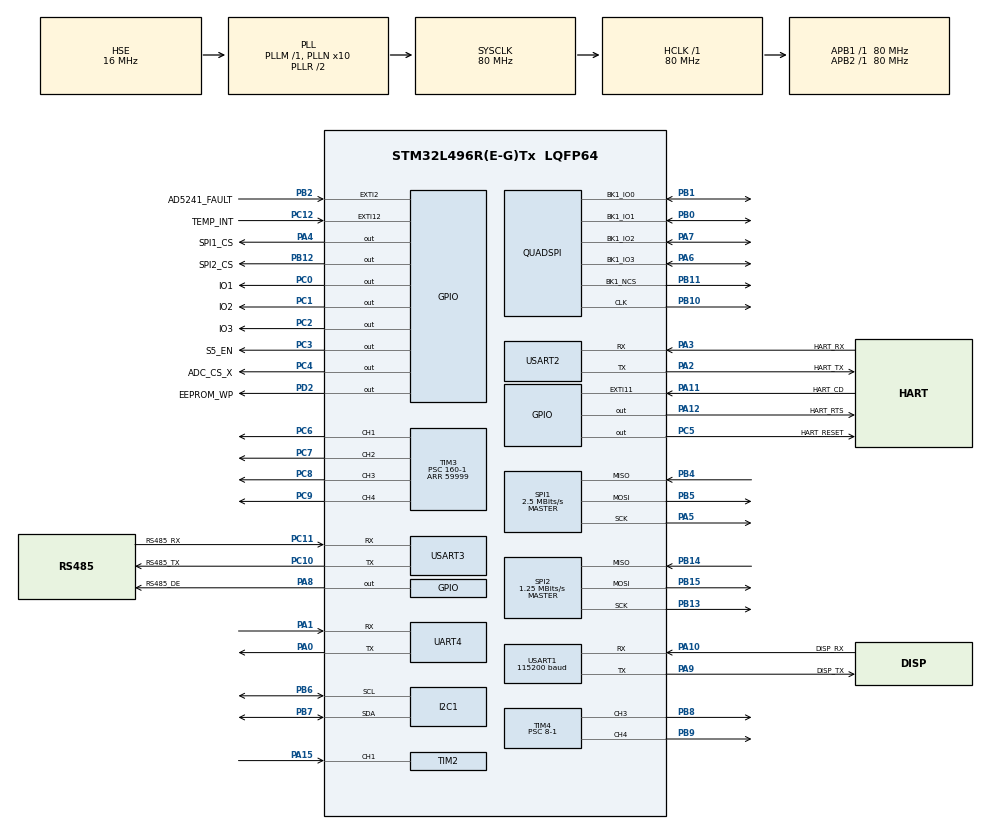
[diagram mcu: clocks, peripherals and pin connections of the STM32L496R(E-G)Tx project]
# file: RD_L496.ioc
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Dma.QUADSPI.0.Direction=DMA_PERIPH_TO_MEMORY
Dma.QUADSPI.0.Instance=DMA1_Channel5
Dma.QUADSPI.0.MemDataAlignment=DMA_MDATAALIGN_BYTE
Dma.QUADSPI.0.MemInc=DMA_MINC_ENABLE
Dma.QUADSPI.0.Mode=DMA_NORMAL
Dma.QUADSPI.0.PeriphDataAlignment=DMA_PDATAALIGN_BYTE
Dma.QUADSPI.0.PeriphInc=DMA_PINC_DISABLE
Dma.QUADSPI.0.Priority=DMA_PRIORITY_LOW
Dma.Request0=QUADSPI
Dma.Request1=USART1_RX
Dma.USART1_RX.1.Direction=DMA_PERIPH_TO_MEMORY
Dma.USART1_RX.1.Instance=DMA2_Channel7
Dma.USART1_RX.1.MemDataAlignment=DMA_MDATAALIGN_BYTE
Dma.USART1_RX.1.MemInc=DMA_MINC_ENABLE
Dma.USART1_RX.1.Mode=DMA_NORMAL
Dma.USART1_RX.1.PeriphDataAlignment=DMA_PDATAALIGN_BYTE
Dma.USART1_RX.1.PeriphInc=DMA_PINC_DISABLE
Dma.USART1_RX.1.Priority=DMA_PRIORITY_LOW
I2C1.Timing=0x10D19CE4
Mcu.Family=STM32L4
Mcu.Name=STM32L496R(E-G)Tx
Mcu.Package=LQFP64
NVIC.DMA2_Channel7_IRQn=true\:1\:0\:true\:false\:true\:false\:true\:true
NVIC.DMA1_Channel5_IRQn=true\:2\:0\:true\:false\:true\:false\:true\:true
NVIC.EXTI15_10_IRQn=true\:0\:0\:false\:false\:true\:true\:true\:true
NVIC.EXTI2_IRQn=true\:0\:0\:false\:false\:true\:true\:true\:true
NVIC.PriorityGroup=NVIC_PRIORITYGROUP_4
NVIC.QUADSPI_IRQn=true\:2\:0\:true\:false\:true\:true\:true\:true
NVIC.SPI1_IRQn=true\:1\:0\:true\:false\:true\:true\:true\:true
NVIC.TIM2_IRQn=true\:0\:0\:false\:false\:true\:true\:true\:true
NVIC.TIM3_IRQn=true\:1\:0\:true\:false\:true\:true\:true\:true
NVIC.TIM4_IRQn=true\:1\:0\:true\:false\:true\:true\:true\:true
NVIC.TIM7_IRQn=true\:1\:0\:true\:false\:true\:true\:true\:true
NVIC.TIM8_UP_IRQn=true\:1\:0\:true\:false\:true\:true\:true\:true
NVIC.UART4_IRQn=true\:2\:0\:true\:false\:true\:true\:true\:true
NVIC.USART1_IRQn=true\:3\:0\:true\:false\:true\:true\:true\:true
NVIC.USART2_IRQn=true\:2\:0\:true\:false\:true\:true\:true\:true
NVIC.USART3_IRQn=true\:2\:0\:true\:false\:true\:true\:true\:true
PA0.Mode=Asynchronous
PA0.Signal=UART4_TX
PA1.Mode=Asynchronous
PA1.Signal=UART4_RX
PA10.GPIO_Label=DISP_RX
PA10.Mode=Asynchronous
PA10.Signal=USART1_RX
PA11.GPIO_Label=HART_CD
PA11.Signal=GPXTI11
PA12.GPIO_Label=HART_RTS
PA12.GPIO_Speed=GPIO_SPEED_FREQ_MEDIUM
PA12.PinState=GPIO_PIN_RESET
PA12.Signal=GPIO_Output
PA13\ (JTMS/SWDIO).Mode=Serial_Wire
PA13\ (JTMS/SWDIO).Signal=SYS_JTMS-SWDIO
PA14\ (JTCK/SWCLK).Mode=Serial_Wire
PA14\ (JTCK/SWCLK).Signal=SYS_JTCK-SWCLK
PA15\ (JTDI).Signal=S_TIM2_CH1
PA2.GPIO_Label=HART_TX
PA2.Mode=Asynchronous
PA2.Signal=USART2_TX
PA3.GPIO_Label=HART_RX
PA3.Mode=Asynchronous
PA3.Signal=USART2_RX
PA4.GPIO_Label=SPI1_CS
PA4.GPIO_PuPd=GPIO_PULLDOWN
PA4.GPIO_Speed=GPIO_SPEED_FREQ_HIGH
PA4.PinState=GPIO_PIN_RESET
PA4.Signal=GPIO_Output
PA5.Mode=Full_Duplex_Master
PA5.Signal=SPI1_SCK
PA6.Mode=Single Bank 1
PA6.Signal=QUADSPI_BK1_IO3
PA7.Mode=Single Bank 1
PA7.Signal=QUADSPI_BK1_IO2
PA8.GPIO_Label=RS485_DE
PA8.GPIO_Speed=GPIO_SPEED_FREQ_MEDIUM
PA8.Signal=GPIO_Output
PA9.GPIO_Label=DISP_TX
PA9.Mode=Asynchronous
PA9.Signal=USART1_TX
PB0.Mode=Single Bank 1
PB0.Signal=QUADSPI_BK1_IO1
PB1.Mode=Single Bank 1
PB1.Signal=QUADSPI_BK1_IO0
PB10.Mode=Single Bank 1
PB10.Signal=QUADSPI_CLK
PB11.Mode=Single Bank 1
PB11.Signal=QUADSPI_BK1_NCS
PB12.GPIO_Label=SPI2_CS
PB12.GPIO_PuPd=GPIO_PULLUP
PB12.GPIO_Speed=GPIO_SPEED_FREQ_HIGH
PB12.PinState=GPIO_PIN_SET
PB12.Signal=GPIO_Output
PB13.Mode=Full_Duplex_Master
PB13.Signal=SPI2_SCK
PB14.Mode=Full_Duplex_Master
PB14.Signal=SPI2_MISO
PB15.Mode=Full_Duplex_Master
PB15.Signal=SPI2_MOSI
PB2.GPIO_Label=AD5241_FAULT
PB2.Signal=GPXTI2
PB4\ (NJTRST).Mode=Full_Duplex_Master
PB4\ (NJTRST).Signal=SPI1_MISO
PB5.Mode=Full_Duplex_Master
PB5.Signal=SPI1_MOSI
PB6.Mode=I2C
PB6.Signal=I2C1_SCL
PB7.Mode=I2C
PB7.Signal=I2C1_SDA
PB8.Signal=S_TIM4_CH3
PB9.Signal=S_TIM4_CH4
PC0.GPIO_Label=IO1
PC0.GPIO_Speed=GPIO_SPEED_FREQ_MEDIUM
PC0.Signal=GPIO_Output
PC1.GPIO_Label=IO2
PC1.GPIO_Speed=GPIO_SPEED_FREQ_MEDIUM
PC1.Signal=GPIO_Output
PC10.GPIO_Label=RS485_TX
PC10.Mode=Asynchronous
PC10.Signal=USART3_TX
PC11.GPIO_Label=RS485_RX
PC11.Mode=Asynchronous
PC11.Signal=USART3_RX
PC12.GPIO_Label=TEMP_INT
PC12.Signal=GPXTI12
PC2.GPIO_Label=IO3
PC2.GPIO_Speed=GPIO_SPEED_FREQ_MEDIUM
PC2.Signal=GPIO_Output
PC3.GPIO_Label=S5_EN
PC3.GPIO_Speed=GPIO_SPEED_FREQ_MEDIUM
PC3.Signal=GPIO_Output
PC4.GPIO_Label=ADC_CS_X
PC4.Signal=GPIO_Output
PC5.GPIO_Label=HART_RESET
PC5.GPIO_Speed=GPIO_SPEED_FREQ_MEDIUM
PC5.Signal=GPIO_Output
PC6.GPIO_PuPd=GPIO_PULLUP
PC6.Signal=S_TIM3_CH1
PC7.GPIO_PuPd=GPIO_PULLDOWN
PC7.Signal=S_TIM3_CH2
PC8.GPIO_PuPd=GPIO_PULLUP
PC8.Signal=S_TIM3_CH3
PC9.GPIO_PuPd=GPIO_PULLDOWN
PC9.Signal=S_TIM3_CH4
PD2.GPIO_Label=EEPROM_WP
PD2.Signal=GPIO_Output
PH0-OSC_IN\ (PH0).Mode=HSE-External-Oscillator
PH0-OSC_IN\ (PH0).Signal=RCC_OSC_IN
PH1-OSC_OUT\ (PH1).Mode=HSE-External-Oscillator
PH1-OSC_OUT\ (PH1).Signal=RCC_OSC_OUT
ProjectManager.HeapSize=0x400
ProjectManager.StackSize=0x800
ProjectManager.TargetToolchain=MDK-ARM V5.32
QUADSPI.ChipSelectHighTime=QSPI_CS_HIGH_TIME_3_CYCLE
QUADSPI.ClockPrescaler=1
QUADSPI.FifoThreshold=4
QUADSPI.FlashSize=23
QUADSPI.SampleShifting=QSPI_SAMPLE_SHIFTING_HALFCYCLE
RCC.ADCFreq_Value=64000000
RCC.AHBFreq_Value=80000000
RCC.APB1Freq_Value=80000000
RCC.APB1TimFreq_Value=80000000
RCC.APB2Freq_Value=80000000
RCC.APB2TimFreq_Value=80000000
RCC.CortexFreq_Value=80000000
RCC.HCLKFreq_Value=80000000
RCC.HSE_VALUE=16000000
RCC.HSI48_VALUE=48000000
RCC.HSI_VALUE=16000000
RCC.LSE_VALUE=32768
RCC.MSI_VALUE=4000000
RCC.PLLN=10
RCC.PLLSourceVirtual=RCC_PLLSOURCE_HSE
RCC.SYSCLKFreq_VALUE=80000000
RCC.SYSCLKSource=RCC_SYSCLKSOURCE_PLLCLK
RCC.USBFreq_Value=64000000
RCC.VCOOutputFreq_Value=160000000
SH.S_TIM2_CH1.0=TIM2_CH1,Input_Capture1_from_TI1
SH.S_TIM3_CH1.0=TIM3_CH1,Output Compare1 CH1
SH.S_TIM3_CH2.0=TIM3_CH2,Output Compare2 CH2
SH.S_TIM3_CH3.0=TIM3_CH3,Output Compare3 CH3
SH.S_TIM3_CH4.0=TIM3_CH4,Output Compare4 CH4
SH.S_TIM4_CH3.0=TIM4_CH3,Output Compare3 CH3
SH.S_TIM4_CH4.0=TIM4_CH4,Output Compare4 CH4
SPI1.BaudRatePrescaler=SPI_BAUDRATEPRESCALER_32
SPI1.CalculateBaudRate=2.5 MBits/s
SPI1.DataSize=SPI_DATASIZE_16BIT
SPI1.Direction=SPI_DIRECTION_2LINES
SPI1.Mode=SPI_MODE_MASTER
SPI1.NSSPMode=SPI_NSS_PULSE_DISABLE
SPI1.VirtualType=VM_MASTER
SPI2.BaudRatePrescaler=SPI_BAUDRATEPRESCALER_64
SPI2.CalculateBaudRate=1.25 MBits/s
SPI2.DataSize=SPI_DATASIZE_16BIT
SPI2.Direction=SPI_DIRECTION_2LINES
SPI2.Mode=SPI_MODE_MASTER
SPI2.NSSPMode=SPI_NSS_PULSE_DISABLE
SPI2.VirtualType=VM_MASTER
TIM2.AutoReloadPreload=TIM_AUTORELOAD_PRELOAD_ENABLE
TIM2.Channel-Input_Capture1_from_TI1=TIM_CHANNEL_1
TIM2.ICPolarity_CH1=TIM_INPUTCHANNELPOLARITY_FALLING
TIM2.Prescaler=80-1
TIM3.AutoReloadPreload=TIM_AUTORELOAD_PRELOAD_ENABLE
TIM3.Channel-Output\ Compare1\ CH1=TIM_CHANNEL_1
TIM3.Channel-Output\ Compare2\ CH2=TIM_CHANNEL_2
TIM3.Channel-Output\ Compare3\ CH3=TIM_CHANNEL_3
TIM3.Channel-Output\ Compare4\ CH4=TIM_CHANNEL_4
TIM3.OC2Preload=DISABLE
TIM3.OC3Preload=DISABLE
TIM3.OCMode_1=TIM_OCMODE_TOGGLE
TIM3.OCMode_2=TIM_OCMODE_TIMING
TIM3.OCMode_3=TIM_OCMODE_TOGGLE
TIM3.OCMode_4=TIM_OCMODE_TIMING
TIM3.OCPolarity_1=TIM_OCPOLARITY_LOW
TIM3.OCPolarity_2=TIM_OCPOLARITY_HIGH
TIM3.OCPolarity_3=TIM_OCPOLARITY_LOW
TIM3.Period=59999
TIM3.Prescaler=160-1
TIM3.Pulse-Output\ Compare1\ CH1=100
TIM3.Pulse-Output\ Compare2\ CH2=100
TIM3.Pulse-Output\ Compare3\ CH3=150
TIM3.Pulse-Output\ Compare4\ CH4=0
TIM4.AutoReloadPreload=TIM_AUTORELOAD_PRELOAD_DISABLE
TIM4.Channel-Output\ Compare3\ CH3=TIM_CHANNEL_3
TIM4.Channel-Output\ Compare4\ CH4=TIM_CHANNEL_4
TIM4.OCMode_3=TIM_OCMODE_PWM2
TIM4.OCMode_4=TIM_OCMODE_PWM2
TIM4.OCPolarity_4=TIM_OCPOLARITY_LOW
TIM4.Period=999
TIM4.Prescaler=8-1
TIM4.Pulse-Output\ Compare3\ CH3=1000
TIM4.Pulse-Output\ Compare4\ CH4=1000
TIM7.AutoReloadPreload=TIM_AUTORELOAD_PRELOAD_ENABLE
TIM7.Period=32-1
TIM7.Prescaler=40-1
TIM8.AutoReloadPreload=TIM_AUTORELOAD_PRELOAD_ENABLE
TIM8.Period=10000-1
TIM8.Prescaler=8000-1
USART1.BaudRate=115200
USART1.VirtualMode-Asynchronous=VM_ASYNC
USART2.VirtualMode-Asynchronous=VM_ASYNC
USART3.VirtualMode-Asynchronous=VM_ASYNC
VP_TIM3_VS_ClockSourceINT.Mode=Internal
VP_TIM4_VS_ClockSourceINT.Mode=Internal
VP_TIM7_VS_ClockSourceINT.Mode=Enable_Timer
VP_TIM8_VS_ClockSourceINT.Mode=Internal
board=custom

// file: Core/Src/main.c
/* USER CODE BEGIN Header */
/**
 ******************************************************************************
 * @file           : main.c
 * @brief          : Main program body
 ******************************************************************************
 * @attention
 *
 * Copyright (c) 2026 STMicroelectronics.
 * All rights reserved.
 *
 * This software is licensed under terms that can be found in the LICENSE file
 * in the root directory of this software component.
 * If no LICENSE file comes with this software, it is provided AS-IS.
 *
 ******************************************************************************
 */
/* USER CODE END Header */
#include "main.h"
#include "dma.h"
#include "i2c.h"
#include "quadspi.h"
#include "spi.h"
#include "tim.h"
#include "usart.h"
#include "gpio.h"

/* USER CODE BEGIN Includes */
#include <stdio.h>
#include <string.h>
#include "bsp_i2c.h"
#include "stlm75m2f.h"
#include "24lc256.h"
#include "bsp_spi.h"
#include "adcs7476.h"
#include "ad5421.h"
#include "bsp_qspi.h"
#include "w25q128jv.h"
#include "bsp_timer.h"
#include "app_hwtest.h"
#include "delay.h"
#include "app_radar.h"
#include "app_config.h"
#include "app_disp.h"
#include "app_hart.h"
/* USER CODE END Includes */

/* USER CODE BEGIN PTD */
    uint16_t adc_value = 0;
/* USER CODE END PTD */

void SystemClock_Config(void);

int main(void)
{

  /* MCU Configuration--------------------------------------------------------*/

  /* Reset of all peripherals, Initializes the Flash interface and the Systick. */
  HAL_Init();

  /* Configure the system clock */
  SystemClock_Config();

  /* Initialize all configured peripherals */
  MX_GPIO_Init();
  MX_DMA_Init();
  MX_SPI1_Init();
  MX_TIM3_Init();
  MX_TIM4_Init();
  MX_USART1_UART_Init();
  MX_I2C1_Init();
  MX_QUADSPI_Init();
  MX_SPI2_Init();
  MX_TIM2_Init();
  MX_UART4_Init();
  MX_USART2_UART_Init();
  MX_USART3_UART_Init();
  MX_TIM7_Init();
  MX_TIM8_Init();
  /* USER CODE BEGIN 2 */
  HAL_TIM_IC_Start_IT(&htim2, TIM_CHANNEL_1);

  /* 雷达业务初始化：算法标定（距离换算系数）等 */
  App_Radar_Init();
  App_Config_LoadFromEEPROM();   /* 开机从 EEPROM 恢复用户配置（失败则保持默认） */
  STLM75_Init();                 /* 温度传感器初始化 */
  AD5421_Init();                 /* 4-20mA DAC 初始化 */
  Disp_Init();   /* 注册 USART1 上行命令回调并启动接收（预留） */
  App_HART_Init();               /* HART 从机初始化（USART2 1200 8O1） */

  /* 注：此处原有开机主动发一帧 PARAM_DUMP(0x05) 的链路自测代码，已删除。
   * 删除理由（§3.10 #C1）：① 该帧注释自述"排查完删除"，属调试残留；
   *   ② 显示板已有 Disp_UpRequestParamDump() 主动拉取（app_disp.c:245），
   *      开机这帧是重复的；③ 它带着 HAL_Delay(100) 阻塞启动路径。*/

  // Test_STLM75M2F();
  // Test_24LC256();
//  Test_ADCS7477();
//  Test_AD5421();
  // Test_W25Q128JV();
  // Test_W25Q128JV_Quad();

  /* USER CODE END 2 */

  /* Infinite loop */
  while (1)
  {

    /* USER CODE BEGIN 3 */
		Disp_Poll();          /* 处理显示板上行帧（主循环，不阻塞采样） */
		App_HART_Task();      /* HART 从机收发 */
#ifdef DEBUG_CAL_CHANNEL
		App_Debug_Task();     /* 调试标定通道（UART4 CAL 命令）；量产默认关闭 */
#endif
		App_Radar_Run();

//     HAL_Delay(100);
//     BSP_s7_pulse();    //当前间隔最小22us以上，视脉宽而定
//     HAL_Delay(100);
//     BSP_s9_pulse();
		// HAL_GPIO_WritePin(GPIOC,GPIO_PIN_6,GPIO_PIN_RESET);

//		HAL_GPIO_WritePin(GPIOC,GPIO_PIN_6,GPIO_PIN_SET);
//ADCS7476_Read(&adc_value);
//    HAL_Delay(10);
  }
  /* USER CODE END 3 */
}

void SystemClock_Config(void)
{
  RCC_OscInitTypeDef RCC_OscInitStruct = {0};
  RCC_ClkInitTypeDef RCC_ClkInitStruct = {0};

  /** Configure the main internal regulator output voltage
  */
  if (HAL_PWREx_ControlVoltageScaling(PWR_REGULATOR_VOLTAGE_SCALE1) != HAL_OK)
  {
    Error_Handler();
  }

  /** Initializes the RCC Oscillators according to the specified parameters
  * in the RCC_OscInitTypeDef structure.
  */
  RCC_OscInitStruct.OscillatorType = RCC_OSCILLATORTYPE_HSE;
  RCC_OscInitStruct.HSEState = RCC_HSE_ON;
  RCC_OscInitStruct.PLL.PLLState = RCC_PLL_ON;
  RCC_OscInitStruct.PLL.PLLSource = RCC_PLLSOURCE_HSE;
  RCC_OscInitStruct.PLL.PLLM = 1;
  RCC_OscInitStruct.PLL.PLLN = 10;
  RCC_OscInitStruct.PLL.PLLP = RCC_PLLP_DIV2;
  RCC_OscInitStruct.PLL.PLLQ = RCC_PLLQ_DIV2;
  RCC_OscInitStruct.PLL.PLLR = RCC_PLLR_DIV2;
  if (HAL_RCC_OscConfig(&RCC_OscInitStruct) != HAL_OK)
  {
    Error_Handler();
  }

  /** Initializes the CPU, AHB and APB buses clocks
  */
  RCC_ClkInitStruct.ClockType = RCC_CLOCKTYPE_HCLK|RCC_CLOCKTYPE_SYSCLK
                              |RCC_CLOCKTYPE_PCLK1|RCC_CLOCKTYPE_PCLK2;
  RCC_ClkInitStruct.SYSCLKSource = RCC_SYSCLKSOURCE_PLLCLK;
  RCC_ClkInitStruct.AHBCLKDivider = RCC_SYSCLK_DIV1;
  RCC_ClkInitStruct.APB1CLKDivider = RCC_HCLK_DIV1;
  RCC_ClkInitStruct.APB2CLKDivider = RCC_HCLK_DIV1;

  if (HAL_RCC_ClockConfig(&RCC_ClkInitStruct, FLASH_LATENCY_4) != HAL_OK)
  {
    Error_Handler();
  }
}

void Error_Handler(void)
{
  __disable_irq();
  while (1)
  {
  }
}
